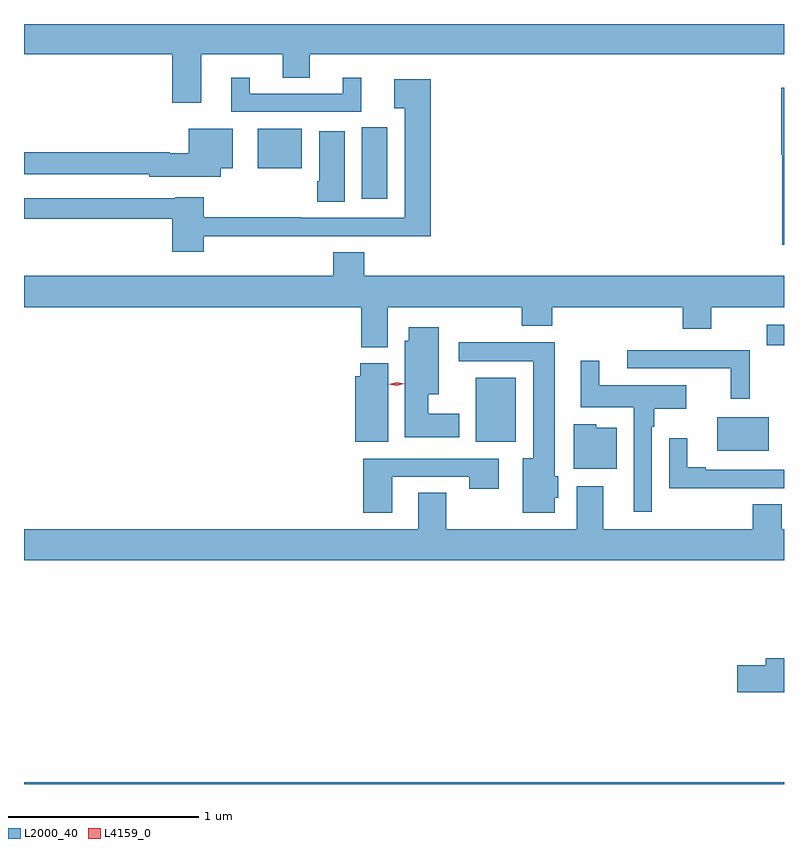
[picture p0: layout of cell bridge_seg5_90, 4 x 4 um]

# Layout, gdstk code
import gdstk
lib = gdstk.Library(unit=1e-6, precision=1e-09)
def R(c, l, rs):  # rectangles x0, y0, x1, y1
    for r in rs: c.add(gdstk.rectangle(r[:2], r[2:], *l))
def P(c, l, *ps):  # polygons
    for p in ps: c.add(gdstk.Polygon(p, *l))
L2000_40 = (2000, 40)
L4159_0 = (4159, 0)

bridge_seg5_90 = lib.new_cell('bridge_seg5_90')
R(bridge_seg5_90, L2000_40, [(314.539,882.222,318.539,882.232), (318.188,883.976,318.46,884.152), (316.916,884.024,317.128,884.359), (318.447,884.532,318.539,884.64), (316.316,885.303,316.45,885.678), (315.77,885.464,316,885.67)])
P(bridge_seg5_90, L2000_40, [(315.902,885.94),(316.042,885.94),(316.042,886.064),(318.539,886.064),(318.539,886.222),(314.539,886.222),(314.539,886.064),(315.32,886.064),(315.32,885.807),(315.472,885.807),(315.472,886.064),(315.902,886.064)],
  [(316.315,885.94),(316.217,885.94),(316.217,885.855),(315.727,885.855),(315.727,885.94),(315.629,885.94),(315.629,885.759),(316.315,885.759)],
  [(315.485,885.104),(316.082,885.104),(316.082,885.105),(316.448,885.105),(316.448,885.104),(316.679,885.104),(316.679,885.931),(316.488,885.931),(316.488,885.779),(316.544,885.779),(316.544,885.201),(315.998,885.201),(315.998,885.206),(315.485,885.206),(315.485,885.31),(315.336,885.31),(315.336,885.306),(314.539,885.306),(314.539,885.198),(315.32,885.198),(315.32,885.024),(315.485,885.024)],
  [(318.539,885.886),(318.524,885.886),(318.524,885.534),(318.53,885.534),(318.53,885.06),(318.539,885.06)],
  [(315.574,885.464),(315.637,885.464),(315.637,885.67),(315.407,885.67),(315.407,885.541),(315.305,885.541),(315.305,885.548),(314.539,885.548),(314.539,885.432),(315.198,885.432),(315.198,885.419),(315.574,885.419)],
  [(316.228,885.658),(316.094,885.658),(316.094,885.394),(316.082,885.394),(316.082,885.286),(316.228,885.286)],
  [(316.453,884.732),(317.158,884.732),(317.158,884.633),(317.318,884.633),(317.318,884.732),(318.005,884.732),(318.005,884.618),(318.157,884.618),(318.157,884.732),(318.539,884.732),(318.539,884.896),(316.331,884.896),(316.331,885.02),(316.166,885.02),(316.166,884.896),(314.539,884.896),(314.539,884.732),(316.313,884.732),(316.313,884.521),(316.453,884.521)],
  [(316.831,884.17),(316.666,884.17),(316.666,884.273),(316.723,884.273),(316.723,884.626),(316.565,884.626),(316.565,884.556),(316.544,884.556),(316.544,884.048),(316.831,884.048)],
  [(317.332,883.728),(317.35,883.728),(317.35,883.842),(317.332,883.842),(317.332,884.546),(316.827,884.546),(316.827,884.448),(317.219,884.448),(317.219,883.936),(317.165,883.936),(317.165,883.65),(317.332,883.65)],
  [(318.359,884.505),(317.715,884.505),(317.715,884.409),(318.259,884.409),(318.259,884.25),(318.359,884.25)],
  [(317.844,884.102),(317.857,884.102),(317.857,884.198),(318.025,884.198),(318.025,884.32),(317.566,884.32),(317.566,884.449),(317.468,884.449),(317.468,884.204),(317.748,884.204),(317.748,883.656),(317.844,883.656)],
  [(316.456,884.436),(316.31,884.436),(316.31,884.368),(316.283,884.368),(316.283,884.024),(316.456,884.024)],
  [(317.659,884.098),(317.55,884.098),(317.55,884.116),(317.432,884.116),(317.432,883.88),(317.659,883.88)],
  [(318.29,883.779),(318.539,883.779),(318.539,883.875),(318.127,883.875),(318.127,883.888),(318.031,883.888),(318.031,884.041),(317.934,884.041),(317.934,883.778),(318.29,883.778)],
  [(316.477,883.839),(316.882,883.839),(316.882,883.776),(317.038,883.776),(317.038,883.935),(316.325,883.935),(316.325,883.65),(316.477,883.65)],
  [(318.539,883.564),(318.526,883.564),(318.526,883.694),(318.374,883.694),(318.374,883.564),(317.587,883.564),(317.587,883.789),(317.447,883.789),(317.447,883.564),(316.761,883.564),(316.761,883.754),(316.613,883.754),(316.613,883.564),(314.539,883.564),(314.539,883.4),(318.539,883.4)],
  [(318.539,882.884),(318.443,882.884),(318.443,882.848),(318.294,882.848),(318.294,882.706),(318.539,882.706)])
P(bridge_seg5_90, L4159_0, [(316.5,884.317),(316.46,884.326),(316.46,884.326),(316.46,884.327),(316.5,884.337),(316.541,884.328),(316.541,884.328),(316.541,884.328)])

lib.write_gds('bridge_seg5_90.gds')
